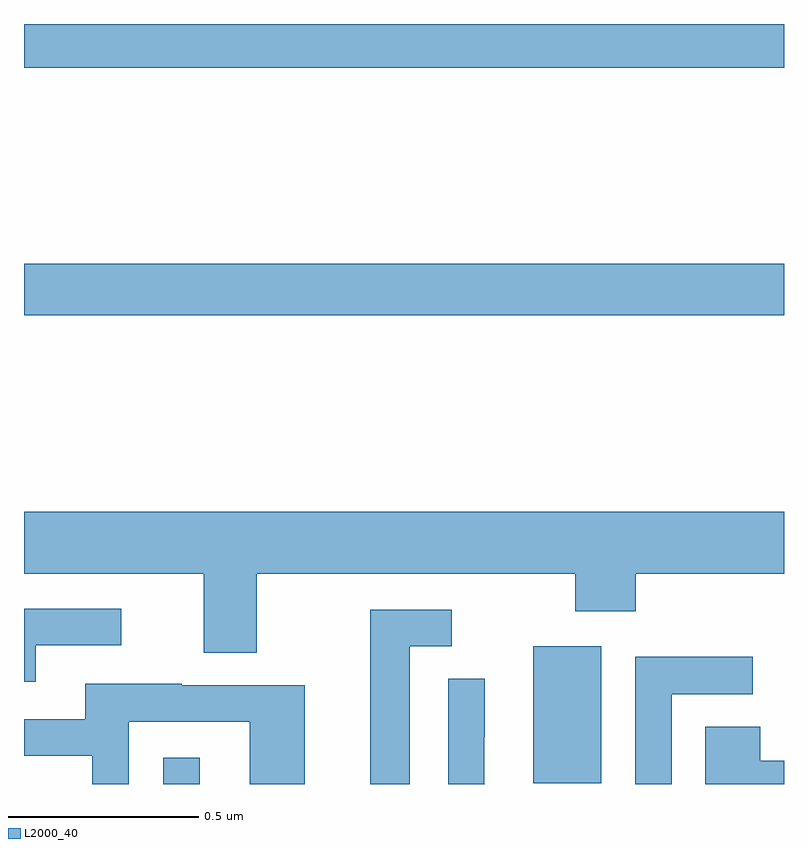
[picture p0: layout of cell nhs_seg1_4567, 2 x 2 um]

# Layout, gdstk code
import gdstk
lib = gdstk.Library(unit=1e-6, precision=1e-09)
def R(c, l, rs):  # rectangles x0, y0, x1, y1
    for r in rs: c.add(gdstk.rectangle(r[:2], r[2:], *l))
def P(c, l, *ps):  # polygons
    for p in ps: c.add(gdstk.Polygon(p, *l))
L2000_40 = (2000, 40)

nhs_seg1_4567 = lib.new_cell('nhs_seg1_4567')
R(nhs_seg1_4567, L2000_40, [(168.366,531.199,168.463,531.268), (169.34,531.201,169.519,531.562), (168,532.432,170,532.568), (168,533.084,170,533.199)])
P(nhs_seg1_4567, L2000_40, [(168.613,531.752),(169.45,531.752),(169.45,531.653),(169.61,531.653),(169.61,531.752),(170,531.752),(170,531.916),(168,531.916),(168,531.752),(168.473,531.752),(168.473,531.544),(168.613,531.544)],
  [(168.031,531.564),(168.256,531.564),(168.256,531.66),(168,531.66),(168,531.468),(168.031,531.468)],
  [(169.015,531.561),(169.126,531.561),(169.126,531.657),(168.911,531.657),(168.911,531.199),(169.015,531.199)],
  [(169.704,531.435),(169.918,531.435),(169.918,531.534),(169.608,531.534),(169.608,531.199),(169.704,531.199)],
  [(169.211,531.2),(169.211,531.322),(169.212,531.322),(169.212,531.476),(169.116,531.476),(169.116,531.199),(169.212,531.199)],
  [(168.276,531.363),(168.594,531.363),(168.594,531.199),(168.739,531.199),(168.739,531.459),(168.415,531.459),(168.415,531.463),(168.161,531.463),(168.161,531.369),(168,531.369),(168,531.273),(168.18,531.273),(168.18,531.199),(168.276,531.199)],
  [(170,531.26),(169.937,531.26),(169.937,531.35),(169.793,531.35),(169.793,531.199),(170,531.199)])

lib.write_gds('nhs_seg1_4567.gds')
